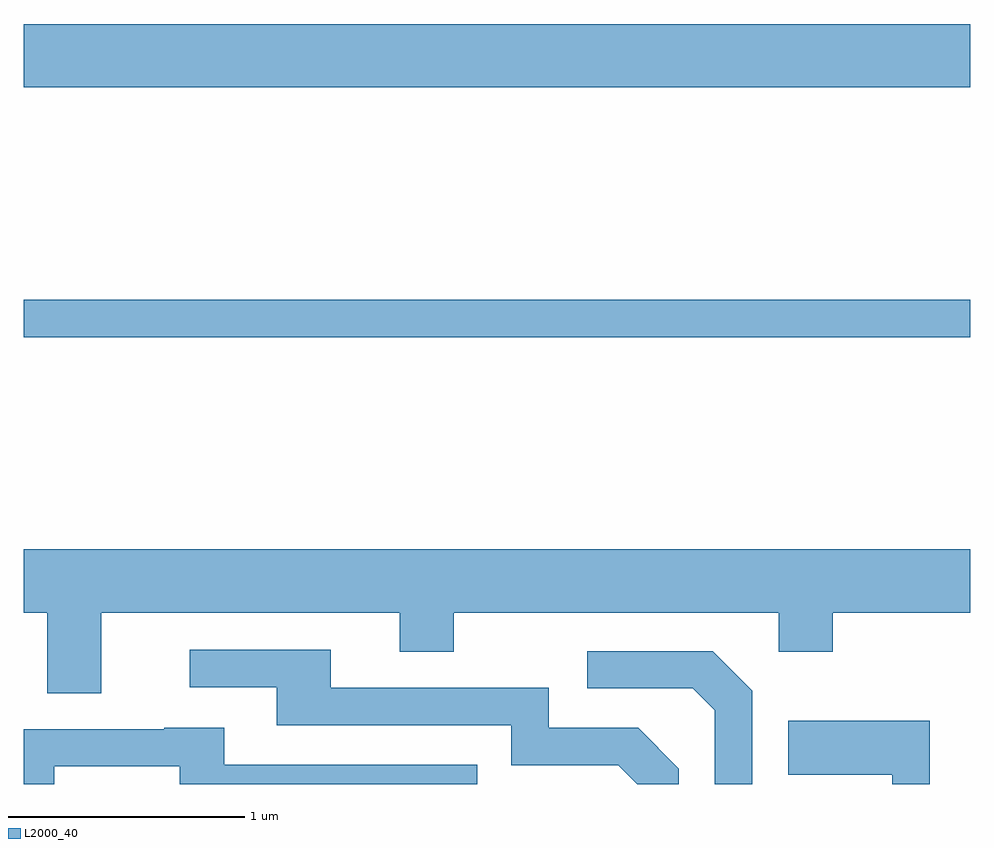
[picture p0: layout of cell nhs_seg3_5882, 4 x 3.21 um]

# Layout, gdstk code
import gdstk
lib = gdstk.Library(unit=1e-6, precision=1e-09)
def R(c, l, rs):  # rectangles x0, y0, x1, y1
    for r in rs: c.add(gdstk.rectangle(r[:2], r[2:], *l))
def P(c, l, *ps):  # polygons
    for p in ps: c.add(gdstk.Polygon(p, *l))
L2000_40 = (2000, 40)

nhs_seg3_5882 = lib.new_cell('nhs_seg3_5882')
R(nhs_seg3_5882, L2000_40, [(357.611,1193.781,361.611,1193.939), (357.611,1194.836,361.611,1195.104)])
P(nhs_seg3_5882, L2000_40, [(357.939,1192.616),(359.201,1192.616),(359.201,1192.451),(359.429,1192.451),(359.429,1192.616),(360.801,1192.616),(360.801,1192.451),(361.029,1192.451),(361.029,1192.616),(361.611,1192.616),(361.611,1192.884),(357.611,1192.884),(357.611,1192.616),(357.711,1192.616),(357.711,1192.276),(357.939,1192.276)],
  [(360.379,1191.957),(360.207,1192.129),(359.829,1192.129),(359.829,1192.299),(358.909,1192.299),(358.909,1192.459),(358.313,1192.459),(358.313,1192.301),(358.681,1192.301),(358.681,1192.141),(359.671,1192.141),(359.671,1191.971),(360.124,1191.971),(360.203,1191.892),(360.379,1191.892)],
  [(360.689,1192.287),(360.522,1192.454),(359.993,1192.454),(359.993,1192.296),(360.439,1192.296),(360.531,1192.204),(360.531,1191.892),(360.689,1191.892)],
  [(361.439,1192.159),(360.841,1192.159),(360.841,1191.931),(361.281,1191.931),(361.281,1191.892),(361.439,1191.892)],
  [(357.739,1191.966),(358.271,1191.966),(358.271,1191.892),(359.528,1191.892),(359.528,1191.974),(358.459,1191.974),(358.459,1192.129),(358.205,1192.129),(358.205,1192.124),(357.611,1192.124),(357.611,1191.892),(357.739,1191.892)])

lib.write_gds('nhs_seg3_5882.gds')
